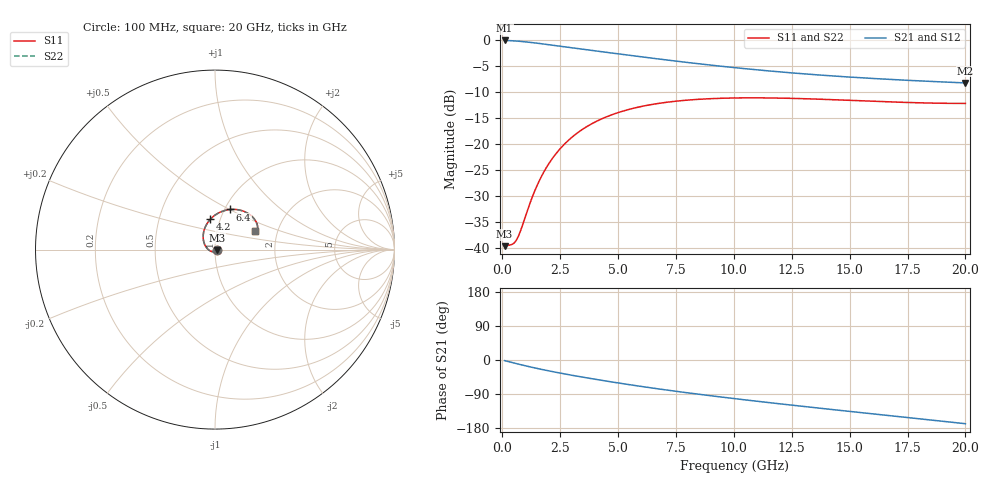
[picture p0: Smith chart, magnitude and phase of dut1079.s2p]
! Touchstone file exported from HFSS 2024.1.0
!  File:  C:/UserFiles/LocalFiles/RDL_TSV_Batchsim/temp_RDL_TSV_1079_1780095188.aedt
!  Generated:  07:06:13 AM May 30, 2026
!  Design:  RDL_TSV
!  Project:  temp_RDL_TSV_1079_1780095188
!  Setup:  Setup1
!  Solution:  Sweep
! Variables:
!  dtsv = 10.48um
!  hbump = 3um
!  htsv = 81.66um
!  ldown = 553um
!  lrdl = 145.76um
!  p = 40
!  p1 = 51.98um
!  rhole = 10um
!  subl = 2242.04um
!  t = 450um
!  tdown = 3.48um
!  trdl = 4.25um
!  viad = 10um
!  wdown = 21.59um
!  wrdl = 29.1um
!  xbump = 18um
# GHz S MA R 50.000000
! Terminal data exported
! Port[1] = TM1_1_T1
! Port[2] = TM1_4_T1
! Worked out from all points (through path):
!   200 points, 100 MHz to 20 GHz, reference 50 ohm
!   highest |S21| = -0.10 dB at 100 MHz (marker M1); lowest = -8.3 dB at 20 GHz (marker M2)
!   group delay of S21, straight-line fit = 21.9 ps
!   lowest |S11| = -39.6 dB at 100 MHz (marker M3), VSWR 1.02, Z = 51 - j0.197 ohm
!   |S11| at or under -10 dB: start of sweep to end of sweep
!   |S22| runs from -39.6 to -11.2 dB; largest |S21 - S12| = 1e-14
!   S11 on the Smith chart (normalised r, x): 100 MHz: 1.02, -0.00; 4.2 GHz: 0.90, +0.31; 6.4 GHz: 1.06, +0.50; 20 GHz: 1.53, +0.34
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0.1  0.01042 -10.7  0.9891 -1.6  0.9891 -1.6  0.01042 -10.7
! Gamma 0 0 0 0
! Port Impedance 50 0 50 0
0.4  0.01079 -52.4  0.983 -6.3  0.983 -6.3  0.01079 -52.4
0.6  0.01182 -86.7  0.9767 -9.4  0.9767 -9.4  0.01183 -86.6
0.8  0.01487 -119.1  0.9687 -12.4  0.9687 -12.4  0.01487 -118.9
1.2  0.02711 -162.8  0.9486 -18.1  0.9486 -18.1  0.02707 -162.7
1.5  0.03979 177.0  0.9314 -22.2  0.9314 -22.2  0.03971 177.1
1.8  0.05413 162.0  0.9132 -26.1  0.9132 -26.1  0.05401 162.1
2.1  0.06936 149.9  0.8948 -29.8  0.8948 -29.8  0.0692 150.0
2.4  0.08496 139.8  0.8765 -33.4  0.8765 -33.4  0.08476 139.8
2.7  0.1005 131.0  0.8586 -36.8  0.8586 -36.8  0.1003 131.1
3.1  0.1208 120.8  0.8355 -41.3  0.8355 -41.3  0.1205 120.9
3.5  0.1401 112.0  0.8131 -45.6  0.8131 -45.6  0.1397 112.0
4.2  0.1707 98.9  0.7757 -52.7  0.7757 -52.7  0.1703 98.9
5.2  0.2069 83.8  0.7259 -62.4  0.7259 -62.4  0.2063 83.8
6.4  0.2386 69.6  0.6712 -73.3  0.6712 -73.3  0.2379 69.6
6.8  0.2466 65.6  0.6542 -76.7  0.6542 -76.7  0.2459 65.5
8.4  0.2682 52.2  0.5932 -89.7  0.5932 -89.7  0.2674 52.1
10.1  0.2772 41.6  0.54 -102.5  0.54 -102.5  0.2762 41.6
11.7  0.2769 34.3  0.4997 -113.7  0.4997 -113.7  0.2759 34.3
13.4  0.271 28.8  0.4655 -125.2  0.4655 -125.2  0.2699 28.8
16.7  0.2542 23.9  0.4182 -146.7  0.4182 -146.7  0.253 23.9
20  0.2456 24.9  0.3866 -168.1  0.3866 -168.1  0.2444 25.0
